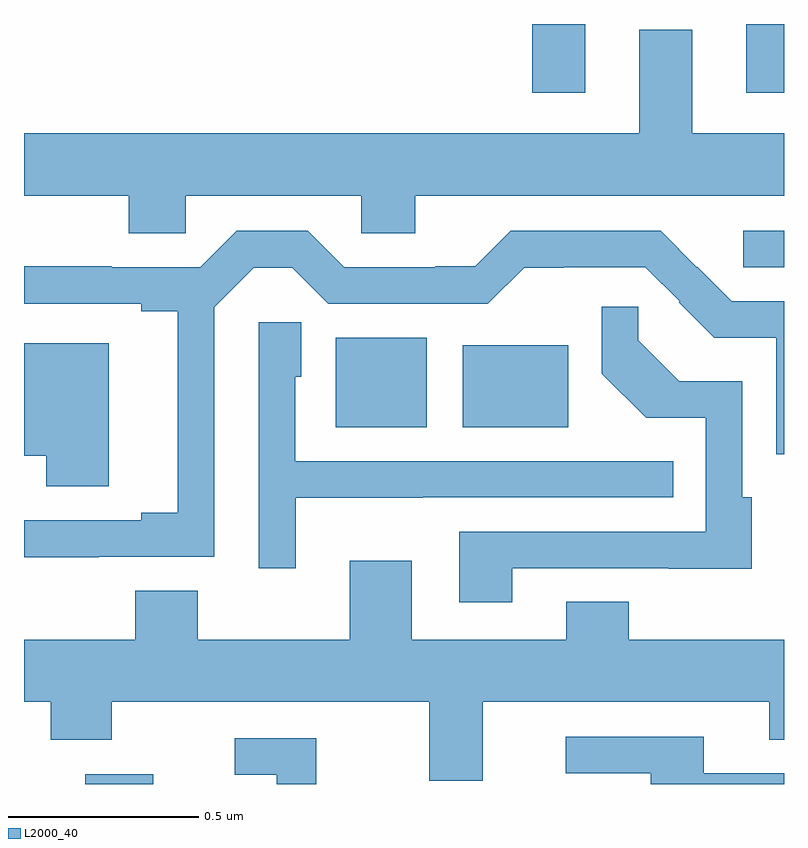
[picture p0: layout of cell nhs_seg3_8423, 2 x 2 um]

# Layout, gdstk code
import gdstk
lib = gdstk.Library(unit=1e-6, precision=1e-09)
def R(c, l, rs):  # rectangles x0, y0, x1, y1
    for r in rs: c.add(gdstk.rectangle(r[:2], r[2:], *l))
def P(c, l, *ps):  # polygons
    for p in ps: c.add(gdstk.Polygon(p, *l))
L2000_40 = (2000, 40)

nhs_seg3_8423 = lib.new_cell('nhs_seg3_8423')
R(nhs_seg3_8423, L2000_40, [(216.161,667.4,216.34,667.426), (216.821,668.339,217.06,668.575), (217.154,668.339,217.432,668.554), (217.893,668.76,218,668.856), (217.337,669.219,217.477,669.4), (217.901,669.219,218,669.4)])
P(nhs_seg3_8423, L2000_40, [(216.426,668.948),(216.888,668.948),(216.888,668.85),(217.03,668.85),(217.03,668.948),(218,668.948),(218,669.112),(217.759,669.112),(217.759,669.385),(217.619,669.385),(217.619,669.112),(216,669.112),(216,668.948),(216.275,668.948),(216.275,668.85),(216.426,668.85)],
  [(216.197,667.998),(216.501,667.998),(216.501,668.655),(216.605,668.759),(216.706,668.759),(216.801,668.664),(217.221,668.664),(217.316,668.759),(217.42,668.759),(217.42,668.76),(217.635,668.76),(217.725,668.67),(217.723,668.668),(217.817,668.574),(217.98,668.574),(217.98,668.268),(218,668.268),(218,668.67),(217.863,668.67),(217.772,668.761),(217.771,668.76),(217.675,668.856),(217.281,668.856),(217.187,668.762),(217.082,668.762),(217.082,668.76),(216.843,668.76),(216.747,668.856),(216.56,668.856),(216.464,668.76),(216.231,668.76),(216.231,668.762),(216,668.762),(216,668.664),(216.308,668.664),(216.308,668.644),(216.404,668.644),(216.404,668.114),(216.308,668.114),(216.308,668.094),(216,668.094),(216,667.997),(216.197,667.997)],
  [(217.285,667.968),(217.697,667.968),(217.697,667.967),(217.915,667.967),(217.915,668.154),(217.89,668.154),(217.89,668.46),(217.724,668.46),(217.616,668.568),(217.616,668.656),(217.521,668.656),(217.521,668.48),(217.637,668.364),(217.794,668.364),(217.794,668.064),(217.145,668.064),(217.145,667.878),(217.285,667.878)],
  [(216.715,668.153),(217.049,668.153),(217.049,668.154),(217.709,668.154),(217.709,668.25),(216.714,668.25),(216.714,668.472),(216.73,668.472),(216.73,668.615),(216.618,668.615),(216.618,667.968),(216.715,667.968)],
  [(216.223,668.56),(216,668.56),(216,668.264),(216.058,668.264),(216.058,668.184),(216.223,668.184)],
  [(217.207,667.616),(217.961,667.616),(217.961,667.517),(218,667.517),(218,667.78),(217.591,667.78),(217.591,667.879),(217.427,667.879),(217.427,667.78),(217.021,667.78),(217.021,667.987),(216.857,667.987),(216.857,667.78),(216.457,667.78),(216.457,667.909),(216.293,667.909),(216.293,667.78),(216,667.78),(216,667.616),(216.071,667.616),(216.071,667.517),(216.231,667.517),(216.231,667.616),(217.067,667.616),(217.067,667.408),(217.207,667.408)],
  [(218,667.428),(217.789,667.428),(217.789,667.524),(217.425,667.524),(217.425,667.428),(217.649,667.428),(217.649,667.4),(218,667.4)],
  [(216.769,667.521),(216.555,667.521),(216.555,667.425),(216.665,667.425),(216.665,667.4),(216.769,667.4)])

lib.write_gds('nhs_seg3_8423.gds')
